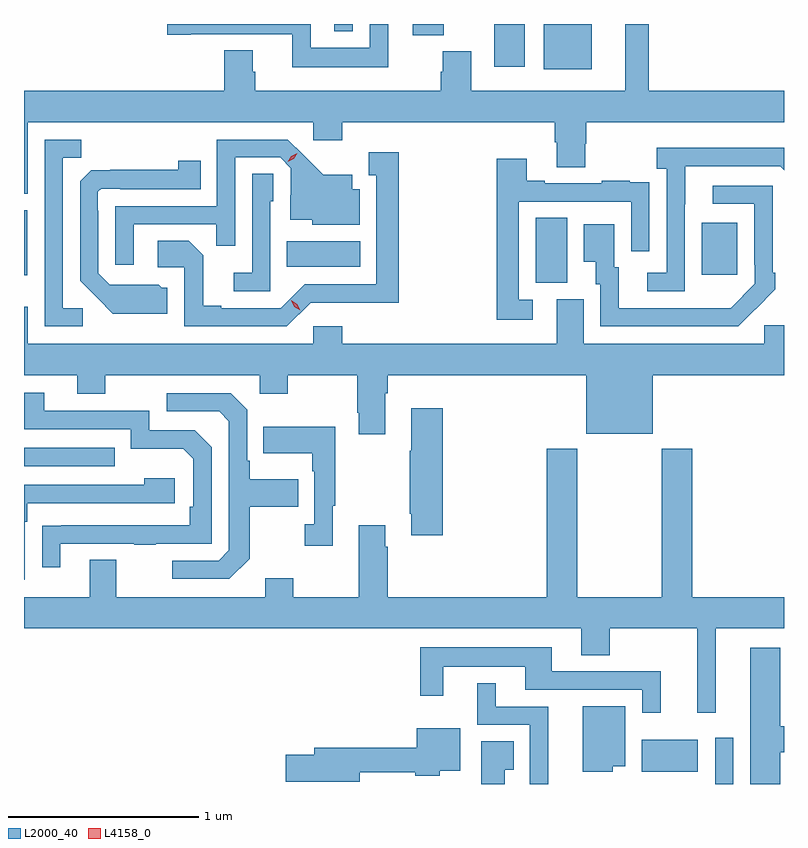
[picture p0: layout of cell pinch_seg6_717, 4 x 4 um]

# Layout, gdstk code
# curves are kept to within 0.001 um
import gdstk
lib = gdstk.Library(unit=1e-6, precision=1e-09)
def R(c, l, rs):  # rectangles x0, y0, x1, y1
    for r in rs: c.add(gdstk.rectangle(r[:2], r[2:], *l))
def P(c, l, *ps):  # polygons
    for p in ps: c.add(gdstk.Polygon(p, *l))
L2000_40 = (2000, 40)
L4158_0 = (4158, 0)

pinch_seg6_717 = lib.new_cell('pinch_seg6_717')
R(pinch_seg6_717, L2000_40, [(631.353,934.528,631.449,934.771), (630.968,934.592,631.261,934.762), (627.716,936.201,628.193,936.297), (630.41,937.165,630.574,937.508), (627.716,937.206,627.733,937.549), (631.283,937.209,631.471,937.483), (629.098,937.25,629.485,937.384), (630.452,938.291,630.703,938.528), (630.191,938.304,630.352,938.528), (629.762,938.47,629.926,938.528), (629.349,938.489,629.445,938.528)])
P(pinch_seg6_717, L2000_40, [(630.509,937.906),(630.521,937.906),(630.521,937.774),(630.669,937.774),(630.669,937.899),(630.674,937.899),(630.674,938.012),(631.716,938.012),(631.716,938.176),(631.003,938.176),(631.003,938.528),(630.881,938.528),(630.881,938.176),(630.069,938.176),(630.069,938.385),(629.921,938.385),(629.921,938.276),(629.909,938.276),(629.909,938.176),(628.934,938.176),(628.934,938.277),(628.921,938.277),(628.921,938.389),(628.769,938.389),(628.769,938.176),(627.716,938.176),(627.716,937.634),(627.736,937.634),(627.736,938.012),(629.238,938.012),(629.238,937.917),(629.39,937.917),(629.39,938.012),(630.509,938.012)],
  [(629.632,938.528),(629.535,938.528),(629.535,938.404),(629.226,938.404),(629.226,938.528),(628.471,938.528),(628.471,938.472),(628.594,938.472),(628.594,938.474),(629.129,938.474),(629.129,938.3),(629.632,938.3)],
  [(628.293,937.473),(628.729,937.473),(628.729,937.36),(628.827,937.36),(628.827,937.827),(629.064,937.827),(629.121,937.77),(629.121,937.628),(629.117,937.628),(629.117,937.499),(629.232,937.499),(629.232,937.472),(629.482,937.472),(629.482,937.657),(629.443,937.657),(629.443,937.735),(629.291,937.735),(629.104,937.92),(628.731,937.92),(628.731,937.569),(628.197,937.569),(628.197,937.26),(628.293,937.26)],
  [(628.024,937.032),(627.921,937.032),(627.921,937.825),(628.017,937.825),(628.017,937.92),(627.825,937.92),(627.825,936.936),(628.024,936.936)],
  [(631.194,937.579),(631.195,937.779),(631.695,937.779),(631.716,937.758),(631.716,937.876),(631.047,937.876),(631.047,937.766),(631.098,937.766),(631.098,937.218),(630.996,937.218),(630.996,937.122),(631.194,937.122)],
  [(629.226,937.062),(629.689,937.061),(629.689,937.852),(629.531,937.852),(629.531,937.731),(629.57,937.731),(629.57,937.158),(629.193,937.158),(629.067,937.032),(628.753,937.032),(628.753,937.045),(628.659,937.045),(628.659,937.312),(628.583,937.388),(628.419,937.388),(628.419,937.248),(628.56,937.248),(628.56,936.936),(629.1,936.936)],
  [(630.394,937.077),(630.321,937.077),(630.321,937.593),(630.912,937.593),(630.912,937.332),(631.008,937.332),(631.008,937.586),(631.007,937.586),(631.007,937.695),(630.905,937.695),(630.905,937.702),(630.757,937.702),(630.757,937.689),(630.457,937.689),(630.457,937.702),(630.361,937.702),(630.361,937.819),(630.205,937.819),(630.205,936.972),(630.394,936.972)],
  [(628.471,937.14),(628.44,937.14),(628.424,937.156),(628.167,937.155),(628.107,937.215),(628.107,937.544),(628.104,937.544),(628.104,937.644),(628.122,937.662),(628.222,937.662),(628.222,937.659),(628.646,937.659),(628.646,937.807),(628.528,937.807),(628.528,937.76),(628.07,937.759),(628.011,937.7),(628.011,937.178),(628.183,937.004),(628.471,937.004)],
  [(629.013,937.596),(629.028,937.596),(629.028,937.739),(628.917,937.739),(628.917,937.219),(628.821,937.219),(628.821,937.122),(629.013,937.122)],
  [(631.565,937.027),(631.566,937.026),(631.671,937.131),(631.671,937.219),(631.656,937.219),(631.656,937.677),(631.341,937.677),(631.341,937.581),(631.56,937.581),(631.56,937.261),(631.563,937.261),(631.563,937.161),(631.435,937.033),(630.847,937.032),(630.847,937.248),(630.823,937.248),(630.823,937.474),(630.662,937.474),(630.662,937.277),(630.725,937.277),(630.725,937.158),(630.75,937.158),(630.75,936.936),(631.474,936.936)],
  [(629.617,936.584),(629.63,936.584),(629.63,936.68),(630.674,936.68),(630.674,936.371),(631.024,936.371),(631.024,936.68),(631.716,936.68),(631.716,936.942),(631.611,936.942),(631.611,936.844),(630.661,936.844),(630.661,937.08),(630.521,937.08),(630.521,936.844),(629.39,936.844),(629.39,936.937),(629.238,936.937),(629.238,936.844),(627.736,936.844),(627.736,937.039),(627.716,937.039),(627.716,936.68),(627.995,936.68),(627.995,936.581),(628.143,936.581),(628.143,936.68),(628.956,936.68),(628.956,936.581),(629.103,936.581),(629.103,936.68),(629.47,936.68),(629.47,936.481),(629.477,936.481),(629.477,936.369),(629.617,936.369)],
  [(627.907,935.793),(628.297,935.793),(628.297,935.788),(628.409,935.788),(628.409,935.793),(628.704,935.793),(628.704,936.3),(628.614,936.39),(628.374,936.39),(628.374,936.492),(627.823,936.492),(627.823,936.588),(627.716,936.588),(627.716,936.396),(628.278,936.396),(628.278,936.293),(628.555,936.293),(628.608,936.24),(628.608,935.986),(628.588,935.986),(628.588,935.889),(627.811,935.888),(627.811,935.67),(627.907,935.67)],
  [(628.903,935.713),(628.903,935.986),(629.159,935.986),(629.159,936.133),(628.903,936.133),(628.903,936.229),(628.89,936.229),(628.89,936.498),(628.803,936.585),(628.467,936.585),(628.467,936.489),(628.743,936.489),(628.794,936.438),(628.794,935.757),(628.74,935.703),(628.497,935.703),(628.497,935.607),(628.797,935.607)],
  [(629.921,936.505),(629.753,936.505),(629.753,936.281),(629.746,936.281),(629.746,935.95),(629.753,935.95),(629.753,935.838),(629.921,935.838)],
  [(629.341,935.993),(629.353,935.993),(629.353,936.409),(628.975,936.409),(628.975,936.269),(629.232,936.269),(629.232,936.173),(629.244,936.173),(629.244,935.894),(629.193,935.894),(629.193,935.781),(629.341,935.781)],
  [(631.358,935.348),(631.716,935.348),(631.716,935.512),(631.232,935.512),(631.232,936.292),(631.072,936.292),(631.072,935.512),(630.627,935.512),(630.627,936.292),(630.467,936.292),(630.467,935.512),(629.63,935.512),(629.63,935.777),(629.617,935.777),(629.617,935.89),(629.477,935.89),(629.477,935.512),(629.133,935.512),(629.133,935.611),(628.985,935.611),(628.985,935.512),(628.201,935.512),(628.201,935.707),(628.061,935.707),(628.061,935.512),(627.716,935.512),(627.716,935.348),(630.65,935.348),(630.65,935.206),(630.798,935.206),(630.798,935.348),(631.259,935.348),(631.259,934.902),(631.358,934.902)],
  [(627.72,935.909),(627.733,935.909),(627.733,936.006),(628.51,936.006),(628.51,936.136),(628.349,936.136),(628.349,936.102),(627.716,936.102),(627.716,935.604),(627.72,935.604)],
  [(631.067,935.121),(630.493,935.121),(630.493,935.248),(629.802,935.248),(629.802,934.992),(629.923,934.992),(629.923,935.144),(630.353,935.144),(630.353,935.025),(630.969,935.025),(630.969,934.902),(631.067,934.902)],
  [(631.697,934.696),(631.716,934.696),(631.716,934.832),(631.697,934.832),(631.697,935.245),(631.538,935.245),(631.538,934.528),(631.697,934.528)],
  [(630.476,934.935),(630.199,934.935),(630.199,935.059),(630.101,935.059),(630.101,934.839),(630.378,934.839),(630.378,934.528),(630.476,934.528)],
  [(630.814,934.622),(630.88,934.622),(630.88,934.936),(630.656,934.936),(630.656,934.592),(630.814,934.592)],
  [(629.482,934.59),(629.776,934.59),(629.776,934.571),(629.904,934.571),(629.904,934.598),(630.013,934.598),(630.013,934.822),(629.783,934.822),(629.783,934.718),(629.243,934.718),(629.243,934.682),(629.094,934.682),(629.094,934.54),(629.482,934.54)],
  [(630.247,934.603),(630.293,934.603),(630.293,934.754),(630.122,934.754),(630.122,934.528),(630.247,934.528)])
P(pinch_seg6_717, L4158_0, [(629.104,937.802),(629.104,937.803),(629.122,937.832),(629.153,937.847),(629.153,937.847),(629.153,937.847),(629.136,937.818),(629.105,937.802)],
  [(629.17,937.021),(629.139,937.04),(629.122,937.073),(629.122,937.073),(629.122,937.073),(629.153,937.054),(629.17,937.021),(629.17,937.021)])

lib.write_gds('pinch_seg6_717.gds')
